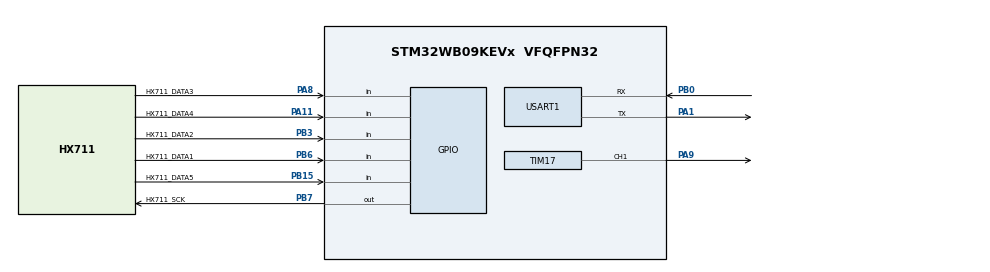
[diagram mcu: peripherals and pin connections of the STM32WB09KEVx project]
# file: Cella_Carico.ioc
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Mcu.Family=STM32WB0
Mcu.Name=STM32WB09KEVx
Mcu.Package=VFQFPN32
NVIC.PKA_IRQn=true\:1\:0\:false\:false\:true\:true\:true\:true
NVIC.RADIO_RRM_IRQn=true\:0\:0\:false\:false\:true\:false\:true\:true
NVIC.RADIO_TIMER_CPU_WKUP_IRQn=true\:0\:0\:false\:false\:true\:false\:true\:true
NVIC.RADIO_TIMER_ERROR_IRQn=true\:0\:0\:false\:false\:true\:false\:true\:true
NVIC.RADIO_TXRX_IRQn=true\:0\:0\:false\:false\:true\:false\:true\:true
NVIC.RADIO_TXRX_SEQ_IRQn=true\:0\:0\:false\:false\:true\:false\:true\:true
OSCIN.Mode=HSE-External-Oscillator
OSCIN.Signal=RCC_OSC_IN
OSCOUT.Mode=HSE-External-Oscillator
OSCOUT.Signal=RCC_OSC_OUT
PA1.Mode=Asynchronous
PA1.Signal=USART1_TX
PA11.GPIO_Label=HX711_DATA4
PA11.Signal=GPIO_Input
PA2.Mode=Serial_Wire
PA2.Signal=DEBUG_SWDIO
PA3.Mode=Serial_Wire
PA3.Signal=DEBUG_SWCLK
PA8.GPIO_Label=HX711_DATA3
PA8.Signal=GPIO_Input
PA9.Signal=S_TIM17_CH1
PB0.Mode=Asynchronous
PB0.Signal=USART1_RX
PB12.Mode=LSE-External-Oscillator
PB12.Signal=RCC_OSC32_OUT
PB13.Mode=LSE-External-Oscillator
PB13.Signal=RCC_OSC32_IN
PB15.GPIO_Label=HX711_DATA5
PB15.Signal=GPIO_Input
PB3.GPIO_Label=HX711_DATA2
PB3.Signal=GPIO_Input
PB6.GPIO_Label=HX711_DATA1
PB6.Signal=GPIO_Input
PB7.GPIO_Label=HX711_SCK
PB7.Signal=GPIO_Output
ProjectManager.HeapSize=0x000
ProjectManager.StackSize=0xC00
ProjectManager.TargetToolchain=STM32CubeIDE
RCC.HSE_VALUE=32000000
RCC.HSI_VALUE=64000000
RCC.RC64MPLLSource=RCC_LSCOSOURCE_PLL64
RCC.RTCClockSelection=RCC_RTC_WDG_BLEWKUP_CLKSOURCE_LSE
RCC.SYSCLK64Divider=RCC_RC64MPLL_DIV2
RF1.Mode=RF1_Activate
RF1.Signal=RADIO_RF1
SH.S_TIM17_CH1.0=TIM17_CH1,PWM Generation1 CH1
STM32_BLE.ADV_TRACE_TIMESTAMP_ENABLE=0
STM32_BLE.BSP.number=1
STM32_BLE.CFG_DEBUG_APP_ADV_TRACE=1
STM32_BLE.CFG_DEBUG_APP_TRACE=1
STM32_BLE.CFG_LSCLK_LSE=1
STM32_BLE.NUMBER_OF_SERVICES=1
STM32_BLE.SERVICE1_CHAR1_LONG_NAME=Coins
STM32_BLE.SERVICE1_CHAR1_PROP_NOTIFY=BLE_GATT_SRV_CHAR_PROP_NOTIFY
STM32_BLE.SERVICE1_CHAR1_SHORT_NAME=Coins
STM32_BLE.SERVICE1_CHAR1_UUID=12 34 56 78 12 34 56 78 12 34 56 78 9A BC DE F1
STM32_BLE.SERVICE1_CHAR1_UUID_128_INPUT_TYPE=1
STM32_BLE.SERVICE1_CHAR1_VALUE_LENGTH=5
STM32_BLE.SERVICE1_CHAR2_LONG_NAME=limit
STM32_BLE.SERVICE1_CHAR2_PROP_READ=BLE_GATT_SRV_CHAR_PROP_READ
STM32_BLE.SERVICE1_CHAR2_PROP_WRITE=BLE_GATT_SRV_CHAR_PROP_WRITE
STM32_BLE.SERVICE1_CHAR2_SHORT_NAME=limit
STM32_BLE.SERVICE1_CHAR2_UUID=12 34 56 78 12 34 56 78 12 34 56 78 9A BC DE F2
STM32_BLE.SERVICE1_CHAR2_UUID_128_INPUT_TYPE=1
STM32_BLE.SERVICE1_CHAR2_VALUE_LENGTH=4
STM32_BLE.SERVICE1_LONG_NAME=PiggyBank
STM32_BLE.SERVICE1_NUMBER_OF_CHARACTERISTICS=2
STM32_BLE.SERVICE1_SHORT_NAME=PiggyBank
STM32_BLE.SERVICE1_UUID=12 34 56 78 12 34 56 78 12 34 56 78 9A BC DE F0
STM32_BLE.SERVICE1_UUID_128_INPUT_TYPE=1
STM32_BLE0.BSP.STBoard=false
STM32_BLE0.BSP.api=Unknown
STM32_BLE0.BSP.instance=USART1
STM32_BLE0.BSP.ip=(LPU|US)ART
STM32_BLE0.BSP.mode=Asynchronous
STM32_BLE0.BSP.name=Serial Link for Traces
STM32_BLE0.BSP.solution=USART1
TIM17.Channel=TIM_CHANNEL_1
TIM17.Period=19999
TIM17.Prescaler=63
USART1.VirtualMode-Asynchronous=VM_ASYNC
VP_ADV_TRACE_VS_ADV_TRACE.Mode=ADV_TRACE_Enabled
VP_COMMON_BLE_VS_Utility_Common_BLE_1.0.0_1.0.0.Mode=Utility_Common
VP_MEMORYMAP_VS_MEMORYMAP.Mode=CurAppReg
VP_MISC_VS_MISC.Mode=MISC_Enabled
VP_PKA_VS_PKA.Mode=PKA_Activate
VP_PWR_VS_SECSignals.Mode=Security/Privilege
VP_RADIO_TIMER_VS_RADIO.Mode=RADIO_Activate
VP_RNG_VS_RNG.Mode=RNG_Activate
VP_SEQUENCER_VS_SEQUENCER.Mode=SEQUENCER_Enabled
VP_STM32_BLE_VS_BLE_HOST_SP.Mode=BLE_Server
VP_TIM17_VS_ClockSourceINT.Mode=Enable_Timer
VP_TINY_LPM_VS_TINY_LPM.Mode=TINY_LPM_Enabled
board=custom

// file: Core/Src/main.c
/* USER CODE BEGIN Header */
/**
  ******************************************************************************
  * @file           : main.c
  * @brief          : Main program body
  ******************************************************************************
  * @attention
  *
  * Copyright (c) 2026 STMicroelectronics.
  * All rights reserved.
  *
  * This software is licensed under terms that can be found in the LICENSE file
  * in the root directory of this software component.
  * If no LICENSE file comes with this software, it is provided AS-IS.
  *
  ******************************************************************************
  */
/* USER CODE END Header */
#include "main.h"

/* USER CODE BEGIN Includes */
#include "hx711.h"
#include <stdio.h>
#include <string.h>
#include "servo_tg9e.h"
#include "piggybank_app.h"
/* USER CODE END Includes */

/* USER CODE BEGIN PD */
#define HX711_TARE_SAMPLES          20U
#define HX711_AVERAGE_SAMPLES       5U
#define APP_STATUS_PERIOD_MS        500U
#define APP_BLE_NOTIFY_PERIOD_MS    500U
#define APP_UART_STATUS_ENABLE      1U
#define SERVO_OPEN_ANGLE            0U
#define SERVO_CLOSED_ANGLE          90U
/* USER CODE END PD */

PKA_HandleTypeDef hpka;

RNG_HandleTypeDef hrng;

TIM_HandleTypeDef htim17;

UART_HandleTypeDef huart1;

/* USER CODE BEGIN PV */
char messaggio_uart[180];
float pesi_reali[5] = {0.0f};
int monete_contate[5] = {0};

/* Peso nominale di una moneta per ogni canale fisico HX711.
   Ordine dei canali cablati: [0]=2€, [1]=50c, [2]=1€, [3]=20c, [4]=10c.
   I canali 50c e 1€ sono quindi mantenuti separati qui e riordinati solo
   nel pacchetto BLE, in modo da rispettare l'ordine mostrato nell'app. */
const float PESI_MONETE[5] = {8.50f, 7.80f, 7.50f, 5.74f, 4.10f};

/* Stato logico del servo: 0 = aperto, 1 = chiuso.
   La chiusura avviene esclusivamente quando il totale raggiunge il limite BLE. */
volatile uint8_t g_servo_closed_by_limit = 0U;
/* USER CODE END PV */

void SystemClock_Config(void);
void PeriphCommonClock_Config(void);
static void MX_GPIO_Init(void);
void MX_USART1_UART_Init(void);
static void MX_TIM17_Init(void);
static void MX_RNG_Init(void);
static void MX_RADIO_Init(void);
static void MX_RADIO_TIMER_Init(void);
static void MX_PKA_Init(void);
/* USER CODE BEGIN PFP */
static void App_UpdateCoinCounts(void);
static uint32_t App_GetTotalCents(void);
static void App_SendBleCoins(void);
static void App_HandleUartDebug(void);
static void App_UpdateServoFromLimit(void);
static void App_PrintStatusUart(void);
static void App_PrintHelp(void);
/* USER CODE END PFP */

/* USER CODE BEGIN 0 */
/* Converte i pesi misurati in numero di monete.
   La piccola banda morta attorno allo zero riduce oscillazioni dovute al rumore. */
static void App_UpdateCoinCounts(void)
{
  for (uint8_t i = 0U; i < 5U; i++)
  {
    if ((pesi_reali[i] > -2.0f) && (pesi_reali[i] < 2.0f))
    {
      pesi_reali[i] = 0.0f;
    }

    if (pesi_reali[i] <= 0.0f)
    {
      monete_contate[i] = 0;
    }
    else
    {
      monete_contate[i] = (int)((pesi_reali[i] / PESI_MONETE[i]) + 0.5f);
    }
  }
}

/* Calcola il valore totale usando l'ordine fisico dei cinque canali HX711. */
static uint32_t App_GetTotalCents(void)
{
  uint32_t total = 0U;

  if (monete_contate[0] > 0) { total += (uint32_t)monete_contate[0] * 200U; } /* channel 0 = 2€ */
  if (monete_contate[1] > 0) { total += (uint32_t)monete_contate[1] *  50U; } /* channel 1 = 50c */
  if (monete_contate[2] > 0) { total += (uint32_t)monete_contate[2] * 100U; } /* channel 2 = 1€ */
  if (monete_contate[3] > 0) { total += (uint32_t)monete_contate[3] *  20U; } /* channel 3 = 20c */
  if (monete_contate[4] > 0) { total += (uint32_t)monete_contate[4] *  10U; } /* channel 4 = 10c */

  return total;
}

/* Le notifiche BLE inviano un byte per moneta: il conteggio viene saturato a 8 bit. */
static uint8_t App_ClampCoinCountToU8(int count)
{
  if (count < 0)
  {
    return 0U;
  }
  if (count > 255)
  {
    return 255U;
  }
  return (uint8_t)count;
}

static void App_SendBleCoins(void)
{
  /* Formato del pacchetto BLE COINS inviato all'app:
     byte 0 = 2€, byte 1 = 1€, byte 2 = 50c, byte 3 = 20c, byte 4 = 10c.
     Il riordino tra canale fisico e visualizzazione avviene solo in questo punto. */
  uint8_t coin_payload[5];

  coin_payload[0] = App_ClampCoinCountToU8(monete_contate[0]); /* 2€  */
  coin_payload[1] = App_ClampCoinCountToU8(monete_contate[2]); /* 1€  */
  coin_payload[2] = App_ClampCoinCountToU8(monete_contate[1]); /* 50c */
  coin_payload[3] = App_ClampCoinCountToU8(monete_contate[3]); /* 20c */
  coin_payload[4] = App_ClampCoinCountToU8(monete_contate[4]); /* 10c */

  PIGGYBANK_APP_SendCoins(coin_payload);
}

static void App_HandleUartDebug(void)
{
  uint8_t dato_ricevuto = 0U;

  /* Lettura UART non bloccante: la seriale è usata solo per richiesta di help/stato. */
  if (HAL_UART_Receive(&huart1, &dato_ricevuto, 1U, 0U) == HAL_OK)
  {
    if ((dato_ricevuto == '?') || (dato_ricevuto == 'h') || (dato_ricevuto == 'H'))
    {
      App_PrintHelp();
    }
  }
}

/* Aggiorna il servo solo quando cambia la condizione di soglia.
   Questo evita di riscrivere continuamente il PWM a ogni ciclo del main loop. */
static void App_UpdateServoFromLimit(void)
{
  static uint8_t last_closed_state = 0xFFU;
  uint32_t limit_cents = PIGGYBANK_APP_GetLimitValue();
  uint32_t total_cents = App_GetTotalCents();
  uint8_t should_close = ((limit_cents > 0U) && (total_cents >= limit_cents)) ? 1U : 0U;

  if (should_close != last_closed_state)
  {
    if (should_close != 0U)
    {
      ServoTG9e_SetAngle(SERVO_CLOSED_ANGLE);
      APP_DBG_MSG("Servo CLOSED: total=%lu cents limit=%lu cents\r\n", total_cents, limit_cents);
    }
    else
    {
      ServoTG9e_SetAngle(SERVO_OPEN_ANGLE);
      APP_DBG_MSG("Servo OPEN: total=%lu cents limit=%lu cents\r\n", total_cents, limit_cents);
    }

    g_servo_closed_by_limit = should_close;
    last_closed_state = should_close;
  }
}

static void App_PrintStatusUart(void)
{
#if (APP_UART_STATUS_ENABLE != 0U)
  uint32_t total_cents = App_GetTotalCents();
  uint32_t limit_cents = PIGGYBANK_APP_GetLimitValue();

  snprintf(messaggio_uart, sizeof(messaggio_uart),
           "2E:%d (%.1fg) | 50c:%d (%.1fg) | 1E:%d (%.1fg) | 20c:%d (%.1fg) | 10c:%d (%.1fg) | total:%lu.%02lu EUR | limit:%lu.%02lu EUR | servo:%s\r\n",
           monete_contate[0], pesi_reali[0],
           monete_contate[1], pesi_reali[1],
           monete_contate[2], pesi_reali[2],
           monete_contate[3], pesi_reali[3],
           monete_contate[4], pesi_reali[4],
           total_cents / 100U, total_cents % 100U,
           limit_cents / 100U, limit_cents % 100U,
           (g_servo_closed_by_limit != 0U) ? "CLOSED" : "OPEN");

  HAL_UART_Transmit(&huart1, (uint8_t*)messaggio_uart, strlen(messaggio_uart), 10U);
#endif
}

static void App_PrintHelp(void)
{
  const char help[] =
      "\r\nPiggyBank no-motor firmware\r\n"
      "  BLE COINS : notify 5 coin-count bytes\r\n"
      "  BLE LIMIT : write uint32 little-endian cents\r\n"
      "  Servo     : OPEN until total >= LIMIT, then CLOSED\r\n"
      "  Motor/MOSFET and UART servo control are disabled.\r\n";
  HAL_UART_Transmit(&huart1, (uint8_t*)help, strlen(help), 100U);
}

int __io_putchar(int ch)
{
  uint8_t c = (uint8_t)ch;
  HAL_UART_Transmit(&huart1, &c, 1U, HAL_MAX_DELAY);
  return ch;
}
/* USER CODE END 0 */

int main(void)
{

  /* MCU Configuration--------------------------------------------------------*/

  /* Reset of all peripherals, Initializes the Flash interface and the Systick. */
  HAL_Init();

  /* Configure the system clock */
  SystemClock_Config();

  /* Configure the peripherals common clocks */
  PeriphCommonClock_Config();

  /* Initialize all configured peripherals */
  MX_GPIO_Init();
  MX_USART1_UART_Init();
  MX_TIM17_Init();
  MX_RNG_Init();
  MX_RADIO_Init();
  MX_RADIO_TIMER_Init();
  MX_PKA_Init();
  /* USER CODE BEGIN 2 */
  char test[] = "\r\n--- PIGGYBANK START: BLE + HX711 + SERVO LIMIT CONTROL ---\r\n";
  HAL_UART_Transmit(&huart1, (uint8_t*)test, strlen(test), 50U);

  /* Fattori di calibrazione dei cinque canali HX711, ottenuti con pesi noti. */
  HX711_SetScales(1050.0f, 1044.5f, 1007.0f, 1073.9f, 1017.39f);
  HX711_TareAllBegin();

  /* Servo collegato a TIM17 CH1 / PA9.
     All'avvio resta aperto; la chiusura dipende soltanto dalla soglia BLE LIMIT. */
  ServoTG9e_Init(&htim17, TIM_CHANNEL_1);
  ServoTG9e_SetAngle(SERVO_OPEN_ANGLE);
  g_servo_closed_by_limit = 0U;

  App_PrintHelp();

  char menu[] = "BLE name: PiggyBank. Use the web app/nRF Connect, not the normal phone Bluetooth menu.\r\n";
  HAL_UART_Transmit(&huart1, (uint8_t*)menu, strlen(menu), 50U);

  char ble_init_msg[] = "Starting BLE stack...\r\n";
  HAL_UART_Transmit(&huart1, (uint8_t*)ble_init_msg, strlen(ble_init_msg), 50U);

  /* USER CODE END 2 */

  /* Init code for STM32_BLE */
  MX_APPE_Init(NULL);

  /* USER CODE BEGIN BLE_Init_Done */
  char ble_done_msg[] = "BLE init finished. Scan for BLE device: PiggyBank\r\n";
  HAL_UART_Transmit(&huart1, (uint8_t*)ble_done_msg, strlen(ble_done_msg), 50U);
  /* USER CODE END BLE_Init_Done */

  /* Infinite loop */
  /* USER CODE BEGIN WHILE */

  uint8_t hx711_tare_done = 0U;
  uint32_t last_status_tick = 0U;
  uint32_t last_ble_notify_tick = 0U;

  while (1)
  {
    uint32_t now = HAL_GetTick();

    App_HandleUartDebug();

    /* La tara viene eseguita in modo cooperativo: il BLE continua a essere processato. */
    if (hx711_tare_done == 0U)
    {
      if (HX711_TareAllTask(HX711_TARE_SAMPLES) != 0U)
      {
        hx711_tare_done = 1U;
        char tare_msg[] = "HX711 tare completed\r\n";
        HAL_UART_Transmit(&huart1, (uint8_t*)tare_msg, strlen(tare_msg), 50U);
      }
    }
    else
    {
      /* Ogni nuova media valida aggiorna conteggio monete, servo e notifica BLE. */
      if (HX711_GetWeightsAveragedTask(pesi_reali, HX711_AVERAGE_SAMPLES) != 0U)
      {
        App_UpdateCoinCounts();
        App_UpdateServoFromLimit();

        if ((now - last_ble_notify_tick) >= APP_BLE_NOTIFY_PERIOD_MS)
        {
          last_ble_notify_tick = now;
          App_SendBleCoins();
        }
      }

      /* Stampa periodica su UART utile durante collaudo e calibrazione. */
      if ((now - last_status_tick) >= APP_STATUS_PERIOD_MS)
      {
        last_status_tick = now;
        App_PrintStatusUart();
      }
    }
    /* USER CODE END WHILE */
    MX_APPE_Process();
    App_UpdateServoFromLimit();

  }
}

void SystemClock_Config(void)
{
  RCC_OscInitTypeDef RCC_OscInitStruct = {0};
  RCC_ClkInitTypeDef RCC_ClkInitStruct = {0};

  /** Initializes the RCC Oscillators according to the specified parameters
  * in the RCC_OscInitTypeDef structure.
  */
  RCC_OscInitStruct.OscillatorType = RCC_OSCILLATORTYPE_HSE|RCC_OSCILLATORTYPE_LSE;
  RCC_OscInitStruct.HSEState = RCC_HSE_ON;
  RCC_OscInitStruct.LSEState = RCC_LSE_ON;
  if (HAL_RCC_OscConfig(&RCC_OscInitStruct) != HAL_OK)
  {
    Error_Handler();
  }

  /** Configure the SYSCLKSource and SYSCLKDivider
  */
  RCC_ClkInitStruct.SYSCLKSource = RCC_SYSCLKSOURCE_RC64MPLL;
  RCC_ClkInitStruct.SYSCLKDivider = RCC_RC64MPLL_DIV2;

  if (HAL_RCC_ClockConfig(&RCC_ClkInitStruct, FLASH_WAIT_STATES_0) != HAL_OK)
  {
    Error_Handler();
  }
}

void PeriphCommonClock_Config(void)
{
  RCC_PeriphCLKInitTypeDef PeriphClkInitStruct = {0};

  /** Initializes the peripherals clock
  */
  PeriphClkInitStruct.PeriphClockSelection = RCC_PERIPHCLK_SMPS;
  PeriphClkInitStruct.SmpsDivSelection = RCC_SMPSCLK_DIV4;

  if (HAL_RCCEx_PeriphCLKConfig(&PeriphClkInitStruct) != HAL_OK)
  {
    Error_Handler();
  }
}

static void MX_PKA_Init(void)
{

  hpka.Instance = PKA;
  if (HAL_PKA_Init(&hpka) != HAL_OK)
  {
    Error_Handler();
  }

}

static void MX_RADIO_Init(void)
{

  RADIO_HandleTypeDef hradio = {0};

  if (__HAL_RCC_RADIO_IS_CLK_DISABLED())
  {
    /* Radio Peripheral reset */
    __HAL_RCC_RADIO_FORCE_RESET();
    __HAL_RCC_RADIO_RELEASE_RESET();

    /* Enable Radio peripheral clock */
    __HAL_RCC_RADIO_CLK_ENABLE();
  }
  hradio.Instance = RADIO;
  HAL_RADIO_Init(&hradio);

}

static void MX_RADIO_TIMER_Init(void)
{

  RADIO_TIMER_InitTypeDef RADIO_TIMER_InitStruct = {0};

  if (__HAL_RCC_RADIO_IS_CLK_DISABLED())
  {
    /* Radio Peripheral reset */
    __HAL_RCC_RADIO_FORCE_RESET();
    __HAL_RCC_RADIO_RELEASE_RESET();

    /* Enable Radio peripheral clock */
    __HAL_RCC_RADIO_CLK_ENABLE();
  }
  /* Wait to be sure that the Radio Timer is active */
  while(LL_RADIO_TIMER_GetAbsoluteTime(WAKEUP) < 0x10);
  RADIO_TIMER_InitStruct.XTAL_StartupTime = 320;
  RADIO_TIMER_InitStruct.enableInitialCalibration = FALSE;
  RADIO_TIMER_InitStruct.periodicCalibrationInterval = 0;
  HAL_RADIO_TIMER_Init(&RADIO_TIMER_InitStruct);

}

static void MX_RNG_Init(void)
{

  hrng.Instance = RNG;
  if (HAL_RNG_Init(&hrng) != HAL_OK)
  {
    Error_Handler();
  }

}

static void MX_TIM17_Init(void)
{

  TIM_OC_InitTypeDef sConfigOC = {0};
  TIM_BreakDeadTimeConfigTypeDef sBreakDeadTimeConfig = {0};

  htim17.Instance = TIM17;
  htim17.Init.Prescaler = 63;
  htim17.Init.CounterMode = TIM_COUNTERMODE_UP;
  htim17.Init.Period = 19999;
  htim17.Init.ClockDivision = TIM_CLOCKDIVISION_DIV1;
  htim17.Init.RepetitionCounter = 0;
  htim17.Init.AutoReloadPreload = TIM_AUTORELOAD_PRELOAD_DISABLE;
  if (HAL_TIM_Base_Init(&htim17) != HAL_OK)
  {
    Error_Handler();
  }
  if (HAL_TIM_PWM_Init(&htim17) != HAL_OK)
  {
    Error_Handler();
  }
  sConfigOC.OCMode = TIM_OCMODE_PWM1;
  sConfigOC.Pulse = 0;
  sConfigOC.OCPolarity = TIM_OCPOLARITY_HIGH;
  sConfigOC.OCNPolarity = TIM_OCNPOLARITY_HIGH;
  sConfigOC.OCFastMode = TIM_OCFAST_DISABLE;
  sConfigOC.OCIdleState = TIM_OCIDLESTATE_RESET;
  sConfigOC.OCNIdleState = TIM_OCNIDLESTATE_RESET;
  if (HAL_TIM_PWM_ConfigChannel(&htim17, &sConfigOC, TIM_CHANNEL_1) != HAL_OK)
  {
    Error_Handler();
  }
  sBreakDeadTimeConfig.OffStateRunMode = TIM_OSSR_DISABLE;
  sBreakDeadTimeConfig.OffStateIDLEMode = TIM_OSSI_DISABLE;
  sBreakDeadTimeConfig.LockLevel = TIM_LOCKLEVEL_OFF;
  sBreakDeadTimeConfig.DeadTime = 0;
  sBreakDeadTimeConfig.BreakState = TIM_BREAK_DISABLE;
  sBreakDeadTimeConfig.BreakPolarity = TIM_BREAKPOLARITY_HIGH;
  sBreakDeadTimeConfig.BreakAFMode = TIM_BREAK_AFMODE_INPUT;
  sBreakDeadTimeConfig.AutomaticOutput = TIM_AUTOMATICOUTPUT_DISABLE;
  if (HAL_TIMEx_ConfigBreakDeadTime(&htim17, &sBreakDeadTimeConfig) != HAL_OK)
  {
    Error_Handler();
  }
  HAL_TIM_MspPostInit(&htim17);

}

void MX_USART1_UART_Init(void)
{

  huart1.Instance = USART1;
  huart1.Init.BaudRate = 115200;
  huart1.Init.WordLength = UART_WORDLENGTH_8B;
  huart1.Init.StopBits = UART_STOPBITS_1;
  huart1.Init.Parity = UART_PARITY_NONE;
  huart1.Init.Mode = UART_MODE_TX_RX;
  huart1.Init.HwFlowCtl = UART_HWCONTROL_NONE;
  huart1.Init.OverSampling = UART_OVERSAMPLING_16;
  huart1.Init.OneBitSampling = UART_ONE_BIT_SAMPLE_DISABLE;
  huart1.Init.ClockPrescaler = UART_PRESCALER_DIV1;
  huart1.AdvancedInit.AdvFeatureInit = UART_ADVFEATURE_NO_INIT;
  if (HAL_UART_Init(&huart1) != HAL_OK)
  {
    Error_Handler();
  }
  if (HAL_UARTEx_SetTxFifoThreshold(&huart1, UART_TXFIFO_THRESHOLD_1_8) != HAL_OK)
  {
    Error_Handler();
  }
  if (HAL_UARTEx_SetRxFifoThreshold(&huart1, UART_RXFIFO_THRESHOLD_1_8) != HAL_OK)
  {
    Error_Handler();
  }
  if (HAL_UARTEx_DisableFifoMode(&huart1) != HAL_OK)
  {
    Error_Handler();
  }

}

static void MX_GPIO_Init(void)
{
  GPIO_InitTypeDef GPIO_InitStruct = {0};

  /* GPIO Ports Clock Enable */
  __HAL_RCC_GPIOB_CLK_ENABLE();
  __HAL_RCC_GPIOA_CLK_ENABLE();

  /*Configure GPIO pin Output Level */
  HAL_GPIO_WritePin(HX711_SCK_GPIO_Port, HX711_SCK_Pin, GPIO_PIN_RESET);

  /*Configure GPIO pins : HX711_DATA2_Pin HX711_DATA5_Pin HX711_DATA1_Pin */
  GPIO_InitStruct.Pin = HX711_DATA2_Pin|HX711_DATA5_Pin|HX711_DATA1_Pin;
  GPIO_InitStruct.Mode = GPIO_MODE_INPUT;
  GPIO_InitStruct.Pull = GPIO_NOPULL;
  HAL_GPIO_Init(GPIOB, &GPIO_InitStruct);

  /*Configure GPIO pin : PA2 */
  GPIO_InitStruct.Pin = GPIO_PIN_2;
  GPIO_InitStruct.Mode = GPIO_MODE_AF_PP;
  GPIO_InitStruct.Pull = GPIO_PULLUP;
  GPIO_InitStruct.Speed = GPIO_SPEED_FREQ_LOW;
  GPIO_InitStruct.Alternate = GPIO_AF7_SWDIO;
  HAL_GPIO_Init(GPIOA, &GPIO_InitStruct);

  /*Configure GPIO pins : HX711_DATA3_Pin HX711_DATA4_Pin */
  GPIO_InitStruct.Pin = HX711_DATA3_Pin|HX711_DATA4_Pin;
  GPIO_InitStruct.Mode = GPIO_MODE_INPUT;
  GPIO_InitStruct.Pull = GPIO_NOPULL;
  HAL_GPIO_Init(GPIOA, &GPIO_InitStruct);

  /*Configure GPIO pin : HX711_SCK_Pin */
  GPIO_InitStruct.Pin = HX711_SCK_Pin;
  GPIO_InitStruct.Mode = GPIO_MODE_OUTPUT_PP;
  GPIO_InitStruct.Pull = GPIO_NOPULL;
  GPIO_InitStruct.Speed = GPIO_SPEED_FREQ_LOW;
  HAL_GPIO_Init(HX711_SCK_GPIO_Port, &GPIO_InitStruct);

  /**/
  HAL_PWREx_DisableGPIOPullUp(PWR_GPIO_B, PWR_GPIO_BIT_3|PWR_GPIO_BIT_15|PWR_GPIO_BIT_7|PWR_GPIO_BIT_6);

  /**/
  HAL_PWREx_DisableGPIOPullUp(PWR_GPIO_A, PWR_GPIO_BIT_8|PWR_GPIO_BIT_11);

  /**/
  HAL_PWREx_DisableGPIOPullDown(PWR_GPIO_B, PWR_GPIO_BIT_3|PWR_GPIO_BIT_15|PWR_GPIO_BIT_7|PWR_GPIO_BIT_6);

  /**/
  HAL_PWREx_DisableGPIOPullDown(PWR_GPIO_A, PWR_GPIO_BIT_8|PWR_GPIO_BIT_11);

  /**/
  HAL_PWREx_EnableGPIOPullUp(PWR_GPIO_A, PWR_GPIO_BIT_2);

  /*RT DEBUG GPIO_Init */
  RT_DEBUG_GPIO_Init();

  /* USER CODE BEGIN MX_GPIO_Init_2 */
  /* Motor/MOSFET output removed: no PB14 gate pin is configured. */
  /* USER CODE END MX_GPIO_Init_2 */
}

/* USER CODE BEGIN 4 */
/* No motor/PWM callbacks in this version. */
/* USER CODE END 4 */

void Error_Handler(void)
{
  /* USER CODE BEGIN Error_Handler_Debug */
  /* User can add his own implementation to report the HAL error return state */
  if (huart1.Instance != NULL)
  {
    char err_msg[] = "\r\n*** ERROR_HANDLER: firmware stopped before/inside BLE init ***\r\n";
    HAL_UART_Transmit(&huart1, (uint8_t*)err_msg, strlen(err_msg), 100U);
  }
  __disable_irq();
  while (1)
  {
  }
  /* USER CODE END Error_Handler_Debug */
}
